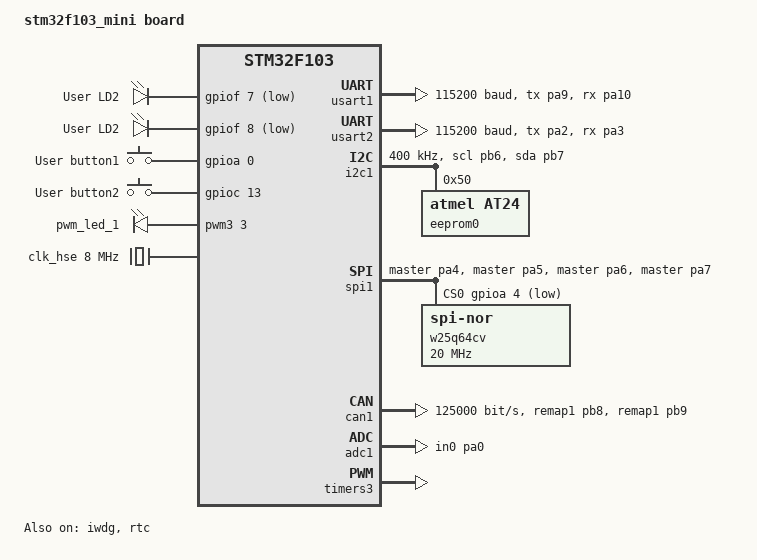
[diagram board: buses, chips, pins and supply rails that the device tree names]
/*
 * Copyright (c) 2020 WuhanStudio
 *
 * SPDX-License-Identifier: Apache-2.0
 */

/dts-v1/;
#include <st/f1/stm32f103Xe.dtsi>
#include <st/f1/stm32f103z(c-d-e)tx-pinctrl.dtsi>

/ {
	model = "stm32f103_mini board";
	compatible = "st,stm32f103";

	chosen {
		zephyr,console = &usart1;
		zephyr,shell-uart = &usart1;
		zephyr,sram = &sram0;
		zephyr,flash = &flash0;
		zephyr,canbus = &can1;
	};

	leds {
		compatible = "gpio-leds";
		led_2: led_2 {
			gpios = <&gpiof 7 GPIO_ACTIVE_LOW>;
			label = "User LD2";
		};
		led_3: led_3 {
			gpios = <&gpiof 8 GPIO_ACTIVE_LOW>;
			label = "User LD2";
		};
	};

        gpio_keys {
                compatible = "gpio-keys";
                button1: button1 {
                        label = "User button1";
                        gpios = <&gpioa 0 GPIO_ACTIVE_HIGH>;
                };
                button2: button2 {
                        label = "User button2";
                        gpios = <&gpioc 13 GPIO_ACTIVE_HIGH>;
                };
        };

	pwmleds {
                compatible = "pwm-leds";
                status = "okay";

                pwm_led_1: pwm_led_1 {
                        pwms = <&pwm3 3 PWM_MSEC(20) PWM_POLARITY_NORMAL>;
                };
        };

	aliases {
		led0 = &led_2;
		sw0 = &button1;
		i2c0 = &i2c1;
		eeprom-0 = &eeprom0;
		spi-flash0 = &w25q64cv;
		watchdog0 = &iwdg;
		pwm-led0 = &pwm_led_1;
	};
};

&clk_lsi {
        status = "okay";
};

&clk_hse {
	clock-frequency = <DT_FREQ_M(8)>;
	status = "okay";
};

&pll {
	mul = <9>;
	clocks = <&clk_hse>;
	status = "okay";
};

&rcc {
	clocks = <&pll>;
	clock-frequency = <DT_FREQ_M(72)>;
	ahb-prescaler = <1>;
	apb1-prescaler = <2>;
	apb2-prescaler = <1>;
};

&usart1 {
	pinctrl-0 = <&usart1_tx_pa9 &usart1_rx_pa10>;
	pinctrl-names = "default";
	current-speed = <115200>;
	status = "okay";
};

&usart2 {
        pinctrl-0 = <&usart2_tx_pa2 &usart2_rx_pa3>;
        pinctrl-names = "default";
        current-speed = <115200>;
        status = "okay";
        /* PB5 can select RS-485 TX  */
};

&i2c1 {
        pinctrl-0 = <&i2c1_scl_pb6 &i2c1_sda_pb7>;
        pinctrl-names = "default";
        status = "okay";
        clock-frequency = <I2C_BITRATE_FAST>;

        eeprom0: eeprom@50 {
                compatible = "atmel,at24";
                reg = <0x50>;
                status = "okay";
                size = <256>;
                pagesize = <8>;
                address-width = <8>;
                timeout = <5>;
        };
};

&spi1 {
	pinctrl-0 = <&spi1_nss_master_pa4 &spi1_sck_master_pa5
			&spi1_miso_master_pa6 &spi1_mosi_master_pa7>;
        pinctrl-names = "default";
        status = "okay";
        cs-gpios = <&gpioa 4 GPIO_ACTIVE_LOW>;
        w25q64cv: w25q64cv@0 {
                compatible = "jedec,spi-nor";
                status = "okay";
                reg = <0>;
                spi-max-frequency = <20000000>;
                size = <0x4000000>;
                has-dpd;
                t-enter-dpd = <4000>;
                t-exit-dpd = <25000>;
                jedec-id = [ef 40 17];
        };
};

&iwdg {
        status = "okay";
};

&rtc {
        clocks = <&rcc STM32_CLOCK_BUS_APB1 0x10000000>,
                 <&rcc STM32_SRC_LSI RTC_SEL(2)>;
        status = "okay";
};

&can1 {
        pinctrl-0 = <&can_rx_remap1_pb8 &can_tx_remap1_pb9>;
        pinctrl-names = "default";
        bus-speed = <125000>;
        status = "okay";
};

&adc1 {
        pinctrl-0 = <&adc1_in0_pa0>;
        pinctrl-names = "default";
        status = "okay";
};

&dac1 {
        status = "disabled";
        /* dac output pins(pa4,pa5) might conflict with spi1 pins */
        pinctrl-0 = <&dac_out1_pa4>;
        /* pinctrl-0 = <&dac_out2_pa5>; */
        pinctrl-names = "default";
};

&flash0 {
        partitions {
                compatible = "fixed-partitions";
                #address-cells = <1>;
                #size-cells = <1>;

                /* Set 12Kb of storage at the end of the 512Kb of flash */
                storage_partition: partition@7d000 {
                        label = "storage";
                        reg = <0x0007d000 DT_SIZE_K(12)>;
                };
        };
};

&timers3 {
        st,prescaler = <10000>;
        status = "okay";

        pwm3: pwm {
                status = "okay";
                pinctrl-0 = <&tim3_ch3_pwm_pb0>;
                pinctrl-names = "default";
        };
};
